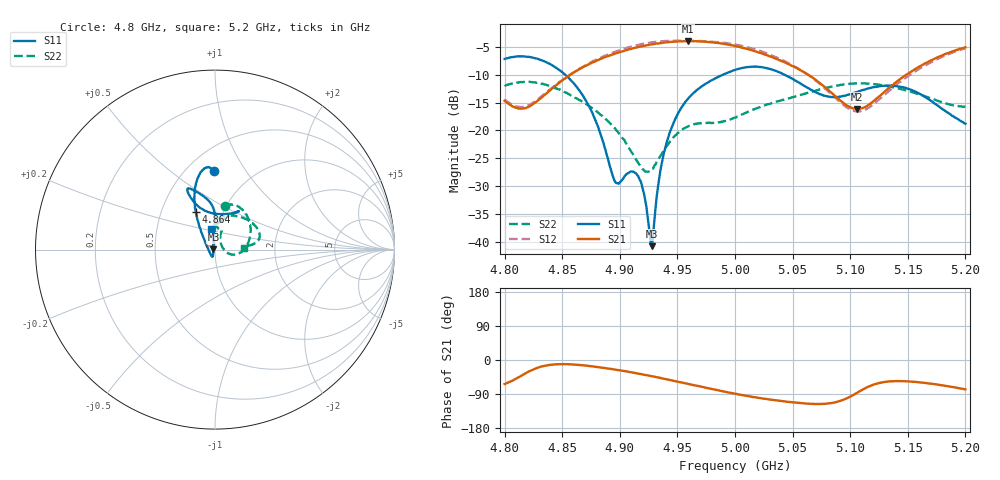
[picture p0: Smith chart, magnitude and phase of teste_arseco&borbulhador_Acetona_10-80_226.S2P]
! Network Analyzer HP8722D
! Hewlett-Packard
! Data name: Linha & Wilkinson
! Saver's name: Rodrigo Anjos
! Comments: Teste da utilização de aquisição
! continua pelo VNA HP8722D
! Time and date: 25/4/2025 17:09
!  Frequency  S11  S21  S12  S22
# HZ  S  MA R 50
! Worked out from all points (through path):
!   401 points, 4.8 GHz to 5.2 GHz, reference 50 ohm
!   highest |S21| = -3.99 dB at 4.959 GHz (marker M1); lowest = -16.1 dB at 5.106 GHz (marker M2)
!   lowest |S11| = -40.7 dB at 4.928 GHz (marker M3), VSWR 1.02, Z = 49.1 + j0.231 ohm
!   |S11| at or under -10 dB: 4.852 GHz to 4.99 GHz (137.2 MHz wide, 2.79 % of centre); 5.043 GHz to end of sweep
!   |S22| runs from -27.4 to -11.3 dB; largest |S21 - S12| = 1.2
!   S11 on the Smith chart (normalised r, x): 4.8 GHz: 0.67, +0.72; 4.864 GHz: 0.74, +0.33; 5.2 GHz: 0.93, +0.21
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4.8e9  0.4367 90.9  0.1842 -63.4  0.1894 70.0  0.2493 76.9
4.82e9  0.4553 97.2  0.1611 -31.8  0.1673 98.8  0.2726 61.5
4.843e9  0.374 106.7  0.2455 -11.8  0.2495 118.9  0.2418 36.5
4.864e9  0.2348 117.1  0.3497 -12.8  0.3526 120.9  0.1894 12.1
4.867e9  0.2122 118.8  0.3637 -13.9  0.3672 120.7  0.1823 8.6
4.88e9  0.1153 129.2  0.4223 -18.4  0.4323 118.2  0.1479 -5.2
4.896e9  0.03464 -170.6  0.488 -25.3  0.5068 113.2  0.104 -15.4
4.91e9  0.04305 -111.4  0.5381 -32.4  0.5629 107.1  0.06439 -12.1
4.917e9  0.03672 -108.5  0.5602 -36.6  0.5874 103.5  0.04938 0.3
4.921e9  0.02725 -113.2  0.5731 -38.8  0.5992 101.3  0.04411 13.6
4.926e9  0.01175 -148.8  0.5862 -41.8  0.6104 98.2  0.04319 33.7
4.928e9  0.009216 165.2  0.5909 -42.9  0.6155 96.9  0.04555 40.9
4.934e9  0.03616 102.4  0.6017 -46.7  0.6281 93.2  0.05629 57.6
4.944e9  0.1001 91.7  0.6205 -53.2  0.6351 86.8  0.08099 68.3
4.959e9  0.1916 90.0  0.6319 -62.9  0.6375 77.1  0.1084 70.7
5e9  0.348 109.3  0.5703 -88.9  0.5901 50.6  0.1307 88.0
5.03e9  0.3563 115.4  0.4625 -104.2  0.4785 33.7  0.1726 85.3
5.067e9  0.2287 105.6  0.2989 -115.8  0.2959 23.6  0.2218 56.8
5.106e9  0.2211 65.5  0.1559 -86.6  0.1477 56.5  0.2632 24.6
5.134e9  0.2521 58.1  0.242 -56.4  0.2271 88.9  0.2479 12.3
5.168e9  0.1905 70.3  0.4129 -61.9  0.3964 85.2  0.1968 7.1
5.2e9  0.1149 101.2  0.5547 -77.6  0.543 70.1  0.1626 3.6
